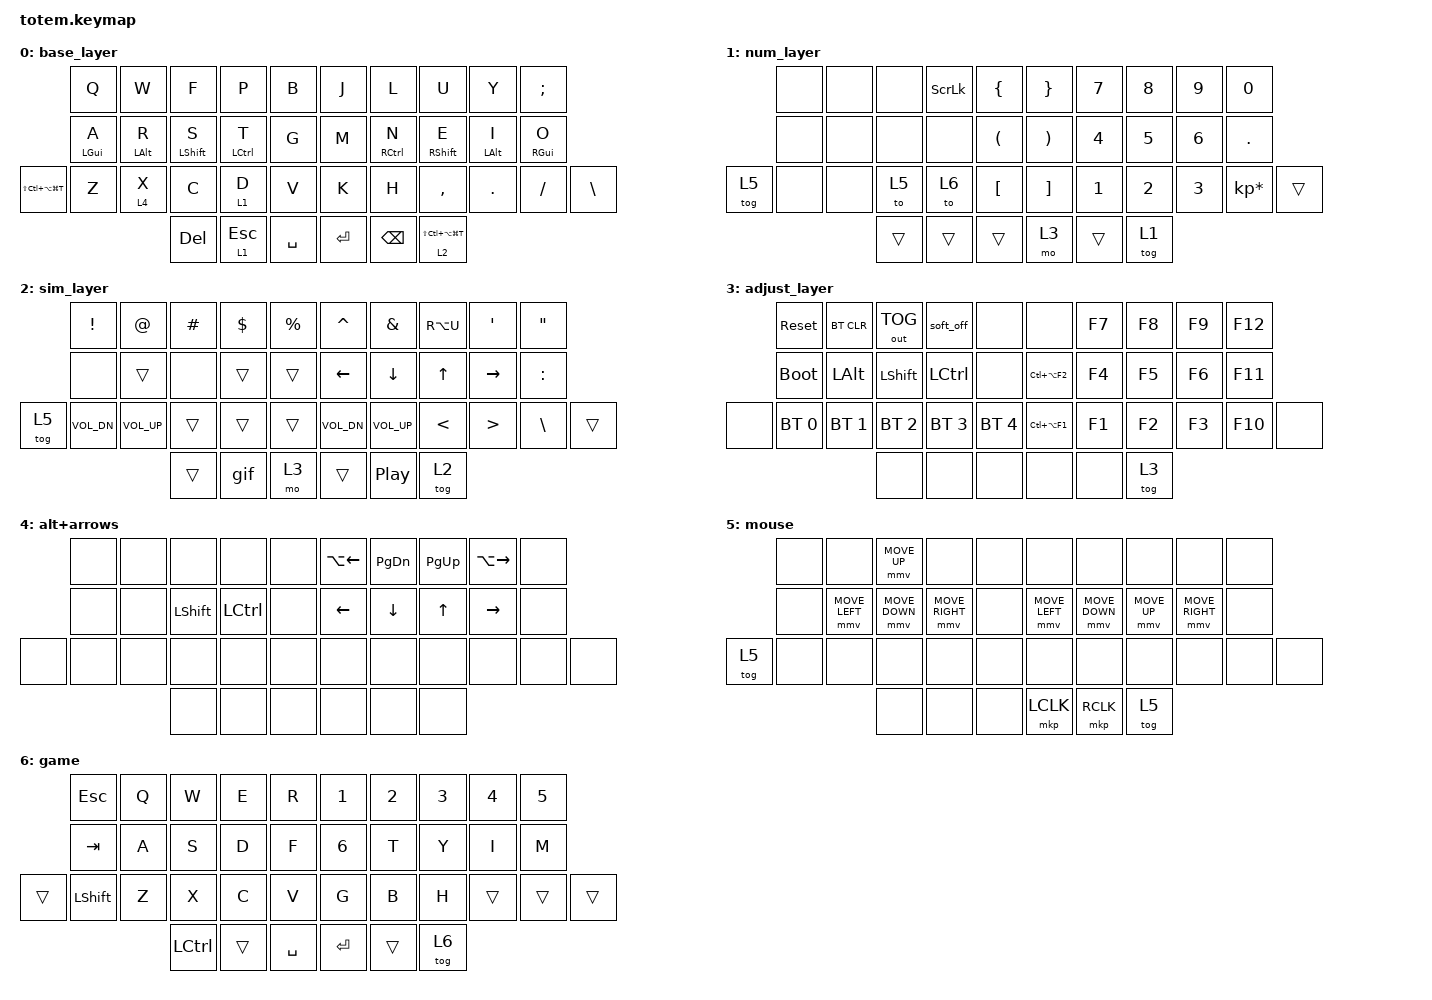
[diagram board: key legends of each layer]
#include <behaviors.dtsi>
#include <dt-bindings/zmk/bt.h>
#include <dt-bindings/zmk/keys.h>
#include <dt-bindings/zmk/outputs.h>
#include <dt-bindings/zmk/pointing.h>

#define BASE 0
#define NAV  1
#define SYM  2
#define ADJ  3
#define TVP1 4
#define TVP2 5

&lt {
    quick-tap-ms = <200>;
    require-prior-idle-ms = <150>;
    tapping-term-ms = <280>;
    hold-trigger-on-release;
    flavor = "balanced";
};

&mmv { acceleration-exponent = <2>; };

/ {
    combos {
        compatible = "zmk,combos";

        combo_esc {
            timeout-ms = <50>;
            key-positions = <0 1>;
            bindings = <&kp ESC>;
            require-prior-idle-ms = <150>;
            layers = <0>;
        };

        esc {
            timeout-ms = <100>;
            key-positions = <11 12 13>;
            bindings = <&kp ESCAPE>;
            require-prior-idle-ms = <150>;
            layers = <0>;
        };

        excl {
            bindings = <&kp EXCLAMATION>;
            key-positions = <0 10>;
            require-prior-idle-ms = <150>;
            layers = <0>;
        };

        hash {
            bindings = <&kp HASH>;
            key-positions = <2 12>;
            require-prior-idle-ms = <150>;
            layers = <0>;
        };

        dollar {
            bindings = <&kp DLLR>;
            key-positions = <3 13>;
            require-prior-idle-ms = <150>;
            layers = <0>;
        };

        at {
            bindings = <&kp AT>;
            key-positions = <1 11>;
            require-prior-idle-ms = <150>;
            layers = <0>;
        };

        percent {
            bindings = <&kp PERCENT>;
            key-positions = <4 14>;
            require-prior-idle-ms = <150>;
            layers = <0>;
        };

        caret {
            bindings = <&kp CARET>;
            key-positions = <5 15>;
            require-prior-idle-ms = <150>;
            layers = <0>;
        };

        plus {
            bindings = <&kp PLUS>;
            key-positions = <6 16>;
            require-prior-idle-ms = <150>;
            layers = <0>;
        };

        mul {
            bindings = <&kp KP_MULTIPLY>;
            key-positions = <7 17>;
            require-prior-idle-ms = <150>;
            layers = <0>;
        };

        and {
            bindings = <&kp AMPERSAND>;
            key-positions = <8 18>;
            require-prior-idle-ms = <150>;
            layers = <0>;
        };

        minus {
            bindings = <&kp MINUS>;
            key-positions = <16 27>;
            require-prior-idle-ms = <150>;
            layers = <0>;
        };

        under {
            bindings = <&kp UNDERSCORE>;
            key-positions = <15 26>;
            require-prior-idle-ms = <150>;
            layers = <0>;
        };

        eql {
            bindings = <&kp EQUAL>;
            key-positions = <13 24>;
            require-prior-idle-ms = <150>;
            layers = <0>;
        };

        tilda {
            bindings = <&kp TILDE>;
            key-positions = <14 25>;
            require-prior-idle-ms = <150>;
            layers = <0>;
        };

        grave {
            bindings = <&kp GRAVE>;
            key-positions = <10 21>;
            require-prior-idle-ms = <150>;
            layers = <0>;
        };

        tab {
            bindings = <&kp TAB>;
            key-positions = <10 11>;
            require-prior-idle-ms = <150>;
            layers = <0>;
        };

        colon {
            bindings = <&kp COLON>;
            key-positions = <19 18>;
            require-prior-idle-ms = <150>;
            layers = <0>;
        };

        capsw {
            bindings = <&caps_word>;
            key-positions = <12 17>;
            require-prior-idle-ms = <150>;
            layers = <0>;
        };

        quote {
            bindings = <&kp SINGLE_QUOTE>;
            key-positions = <9 19>;
            require-prior-idle-ms = <150>;
            layers = <0>;
        };

        d-quote {
            bindings = <&kp DOUBLE_QUOTES>;
            key-positions = <19 30>;
            require-prior-idle-ms = <150>;
            layers = <0>;
        };

        under2 {
            bindings = <&kp UNDERSCORE>;
            key-positions = <27 28>;
            require-prior-idle-ms = <150>;
            layers = <0>;
        };

        bracket_left {
            bindings = <&kp LEFT_BRACKET>;
            key-positions = <24 25>;
            require-prior-idle-ms = <150>;
            layers = <0>;
        };

        bracket_right {
            bindings = <&kp RIGHT_BRACKET>;
            key-positions = <26 27>;
            require-prior-idle-ms = <150>;
            layers = <0>;
        };

        paren_left {
            bindings = <&kp LEFT_PARENTHESIS>;
            key-positions = <13 14>;
            require-prior-idle-ms = <150>;
            layers = <0>;
        };

        paren_right {
            bindings = <&kp RIGHT_PARENTHESIS>;
            key-positions = <15 16>;
            require-prior-idle-ms = <150>;
            layers = <0>;
        };

        brace_left {
            bindings = <&kp LEFT_BRACE>;
            key-positions = <3 4>;
            require-prior-idle-ms = <150>;
            layers = <0>;
        };

        brace_right {
            bindings = <&kp RIGHT_BRACE>;
            key-positions = <5 6>;
            require-prior-idle-ms = <150>;
            layers = <0>;
        };

        hyper_t_pf {
            bindings = <&kp LS(LC(LA(LG(T))))>;
            key-positions = <2 3>;
            require-prior-idle-ms = <150>;
            layers = <0>;
        };

        hyper_t_lu {
            bindings = <&kp LS(LC(LA(LG(T))))>;
            key-positions = <6 7>;
            require-prior-idle-ms = <150>;
            layers = <0>;
        };
    };

    macros {
        gif: gif {
            label = "giphy";
            compatible = "zmk,behavior-macro";
            #binding-cells = <0>;
            bindings =
                <&macro_press>,
                <&kp LSHFT>,
                <&macro_tap>,
                <&kp N2>,
                <&macro_release>,
                <&kp LSHFT>,
                <&macro_tap>,
                <&kp G &kp I &kp F>;
        };
    };

    behaviors {
        hmr: hmr {
            compatible = "zmk,behavior-hold-tap";
            bindings = <&kp>, <&kp>;

            #binding-cells = <2>;
            tapping-term-ms = <280>;
            quick-tap-ms = <200>;
            flavor = "balanced";
            hold-trigger-key-positions = <20 21 10 0 1 11 22 23 2 3 13 25 4 12 14 24 32 33 34 35 36 37>;
            require-prior-idle-ms = <150>;
            hold-trigger-on-release;
        };

        hml: hml {
            compatible = "zmk,behavior-hold-tap";
            bindings = <&kp>, <&kp>;

            #binding-cells = <2>;
            tapping-term-ms = <280>;
            quick-tap-ms = <200>;
            flavor = "balanced";
            hold-trigger-key-positions = <32 33 34 35 37 36 26 15 5 7 16 6 27 28 17 8 18 29 30 19 9 31>;
            require-prior-idle-ms = <150>;
            hold-trigger-on-release;
        };
    };

    keymap {
        compatible = "zmk,keymap";

        base_layer {
            bindings = <
           &kp Q        &kp W        &kp F         &kp P         &kp B        &kp J    &kp L          &kp U         &kp Y        &kp SEMICOLON
           &hml LGUI A  &hml LALT R  &hml LSHFT S  &hml LCTRL T  &kp G        &kp M    &hmr RCTRL N   &hmr RSHFT E  &hmr LALT I  &hmr RGUI O
&kp LS(LC(LA(LG(T))))  &kp Z        &lt 4 X      &kp C         &lt 1 D       &kp V        &kp K    &kp H          &kp COMMA     &kp DOT      &kp SLASH      &kp BACKSLASH
                                     &kp DEL       &lt 1 ESCAPE  &kp SPACE    &kp RET  &kp BACKSPACE  &lt 2 LS(LC(LA(LG(T))))
            >;
        };

        num_layer {
            bindings = <
        &none  &none  &none   &kp SCROLLLOCK  &kp LBRC    &kp RBRC  &kp N7  &kp N8  &kp N9  &kp N0
        &none  &none  &none   &none           &kp LPAR    &kp RPAR  &kp N4  &kp N5  &kp N6  &kp DOT
&tog 5  &none  &none  &to 5   &to 6           &kp LBKT    &kp RBKT  &kp N1  &kp N2  &kp N3  &kp KP_MULTIPLY  &trans
                      &trans  &trans          &trans      &mo 3     &trans  &tog 1
            >;
        };

        sim_layer {
            bindings = <
        &kp EXCL      &kp AT           &kp HASH  &kp DLLR  &kp PRCNT    &kp CARET     &kp AMPS      &kp RA(U)      &kp SQT           &kp DQT
        &none         &trans           &none     &trans    &trans       &kp LEFT      &kp DOWN      &kp UP         &kp RIGHT         &kp COLON
&tog 5  &kp C_VOL_DN  &kp C_VOLUME_UP  &trans    &trans    &trans       &kp C_VOL_DN  &kp C_VOL_UP  &kp LESS_THAN  &kp GREATER_THAN  &kp BSLH   &trans
                                       &trans    &gif      &mo 3        &trans        &kp C_PP      &tog 2
            >;
        };

        adjust_layer {
            bindings = <
       &sys_reset    &bt BT_CLR    &out OUT_TOG    &soft_off     &none           &none           &kp F7  &kp F8  &kp F9  &kp F12
       &bootloader   &kp LEFT_ALT  &kp LEFT_SHIFT  &kp LCTRL     &none           &kp LC(LA(F2))  &kp F4  &kp F5  &kp F6  &kp F11
&none  &bt BT_SEL 0  &bt BT_SEL 1  &bt BT_SEL 2    &bt BT_SEL 3  &bt BT_SEL 4    &kp LC(LA(F1))  &kp F1  &kp F2  &kp F3  &kp F10  &none
                                   &none           &none         &none           &none           &none   &tog 3
            >;
        };

        alt+arrows {
            bindings = <
       &none  &none  &none       &none      &none    &kp LA(LEFT)  &kp PAGE_DOWN  &kp PAGE_UP  &kp LA(RIGHT)  &none
       &none  &none  &kp LSHIFT  &kp LCTRL  &none    &kp LEFT      &kp DOWN       &kp UP       &kp RIGHT      &none
&none  &none  &none  &none       &none      &none    &none         &none          &none        &none          &none  &none
                     &none       &none      &none    &none         &none          &none
            >;
        };

        mouse {
            bindings = <
        &none  &none           &mmv MOVE_UP    &none            &none    &none           &none           &none         &none            &none
        &none  &mmv MOVE_LEFT  &mmv MOVE_DOWN  &mmv MOVE_RIGHT  &none    &mmv MOVE_LEFT  &mmv MOVE_DOWN  &mmv MOVE_UP  &mmv MOVE_RIGHT  &none
&tog 5  &none  &none           &none           &none            &none    &none           &none           &none         &none            &none  &none
                               &none           &none            &none    &mkp LCLK       &mkp RCLK       &tog 5
            >;
        };

        game {
            bindings = <
        &kp ESCAPE      &kp Q  &kp W      &kp E   &kp R        &kp N1   &kp N2  &kp N3  &kp N4  &kp N5
        &kp TAB         &kp A  &kp S      &kp D   &kp F        &kp N6   &kp T   &kp Y   &kp I   &kp M
&trans  &kp LEFT_SHIFT  &kp Z  &kp X      &kp C   &kp V        &kp G    &kp B   &kp H   &trans  &trans  &trans
                               &kp LCTRL  &trans  &kp SPACE    &kp RET  &trans  &tog 6
            >;
        };
    };
};
